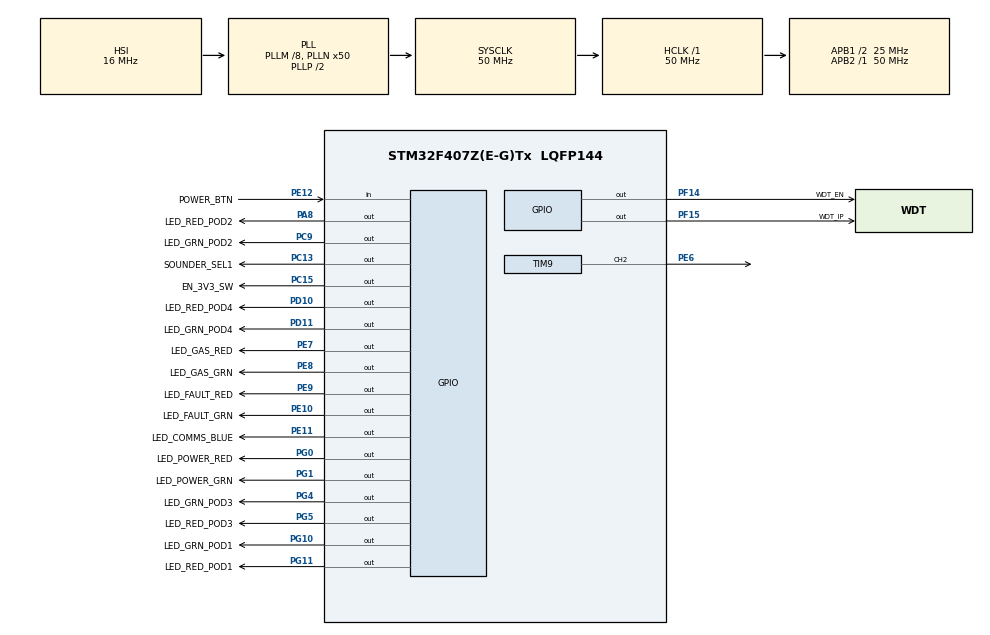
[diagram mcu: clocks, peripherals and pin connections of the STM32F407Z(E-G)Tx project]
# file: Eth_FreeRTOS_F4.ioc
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Mcu.Family=STM32F4
Mcu.Name=STM32F407Z(E-G)Tx
Mcu.Package=LQFP144
NVIC.PriorityGroup=NVIC_PRIORITYGROUP_4
NVIC.TIM3_IRQn=true\:15\:0\:false\:false\:true\:false\:true\:true
NVIC.TimeBase=TIM3_IRQn
NVIC.TimeBaseIP=TIM3
PA13.Mode=Trace_Asynchronous_SW
PA13.Signal=SYS_JTMS-SWDIO
PA14.Mode=Trace_Asynchronous_SW
PA14.Signal=SYS_JTCK-SWCLK
PA8.GPIO_Label=LED_RED_POD2
PA8.Signal=GPIO_Output
PB3.Mode=Trace_Asynchronous_SW
PB3.Signal=SYS_JTDO-SWO
PC13-ANTI_TAMP.GPIO_Label=SOUNDER_SEL1
PC13-ANTI_TAMP.GPIO_PuPd=GPIO_PULLUP
PC13-ANTI_TAMP.Signal=GPIO_Output
PC15-OSC32_OUT.GPIO_Label=EN_3V3_SW
PC15-OSC32_OUT.GPIO_PuPd=GPIO_PULLUP
PC15-OSC32_OUT.PinState=GPIO_PIN_SET
PC15-OSC32_OUT.Signal=GPIO_Output
PC9.GPIO_Label=LED_GRN_POD2
PC9.Signal=GPIO_Output
PD10.GPIO_Label=LED_RED_POD4
PD10.Signal=GPIO_Output
PD11.GPIO_Label=LED_GRN_POD4
PD11.Signal=GPIO_Output
PE10.GPIO_Label=LED_FAULT_GRN
PE10.Signal=GPIO_Output
PE11.GPIO_Label=LED_COMMS_BLUE
PE11.Signal=GPIO_Output
PE12.GPIO_Label=POWER_BTN
PE12.GPIO_PuPd=GPIO_PULLUP
PE12.Signal=GPIO_Input
PE6.Signal=S_TIM9_CH2
PE7.GPIO_Label=LED_GAS_RED
PE7.Signal=GPIO_Output
PE8.GPIO_Label=LED_GAS_GRN
PE8.Signal=GPIO_Output
PE9.GPIO_Label=LED_FAULT_RED
PE9.Signal=GPIO_Output
PF14.GPIO_Label=WDT_EN
PF14.GPIO_PuPd=GPIO_PULLUP
PF14.PinState=GPIO_PIN_SET
PF14.Signal=GPIO_Output
PF15.GPIO_Label=WDT_IP
PF15.Signal=GPIO_Output
PG0.GPIO_Label=LED_POWER_RED
PG0.Signal=GPIO_Output
PG1.GPIO_Label=LED_POWER_GRN
PG1.Signal=GPIO_Output
PG10.GPIO_Label=LED_GRN_POD1
PG10.Signal=GPIO_Output
PG11.GPIO_Label=LED_RED_POD1
PG11.Signal=GPIO_Output
PG4.GPIO_Label=LED_GRN_POD3
PG4.Signal=GPIO_Output
PG5.GPIO_Label=LED_RED_POD3
PG5.Signal=GPIO_Output
PH0-OSC_IN.Mode=HSE-External-Oscillator
PH0-OSC_IN.Signal=RCC_OSC_IN
PH1-OSC_OUT.Mode=HSE-External-Oscillator
PH1-OSC_OUT.Signal=RCC_OSC_OUT
ProjectManager.HeapSize=0x200
ProjectManager.StackSize=0x400
ProjectManager.TargetToolchain=EWARM V8.50
RCC.48MHZClocksFreq_Value=25000000
RCC.AHBFreq_Value=50000000
RCC.APB1CLKDivider=RCC_HCLK_DIV2
RCC.APB1Freq_Value=25000000
RCC.APB1TimFreq_Value=50000000
RCC.APB2Freq_Value=50000000
RCC.APB2TimFreq_Value=50000000
RCC.CortexFreq_Value=50000000
RCC.HCLKFreq_Value=50000000
RCC.HSE_VALUE=25000000
RCC.HSI_VALUE=16000000
RCC.LSE_VALUE=32768
RCC.PLLM=8
RCC.PLLN=50
RCC.SYSCLKFreq_VALUE=50000000
RCC.SYSCLKSource=RCC_SYSCLKSOURCE_PLLCLK
RCC.VCOOutputFreq_Value=100000000
SH.S_TIM9_CH2.0=TIM9_CH2,Output Compare2 CH2
TIM9.Channel-Output\ Compare2\ CH2=TIM_CHANNEL_2
TIM9.OCMode_2=TIM_OCMODE_TOGGLE
TIM9.Period=100
TIM9.Prescaler=120
TIM9.Pulse-Output\ Compare2\ CH2=50
VP_RNG_VS_RNG.Mode=RNG_Activate
VP_SYS_VS_tim3.Mode=TIM3
VP_TIM9_VS_ClockSourceINT.Mode=Internal
board=custom

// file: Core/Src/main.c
/* USER CODE BEGIN Header */
/**
  ******************************************************************************
  * @file           : main.c
  * @brief          : Main program body
  ******************************************************************************
  * @attention
  *
  * Copyright (c) 2024 STMicroelectronics.
  * All rights reserved.
  *
  * This software is licensed under terms that can be found in the LICENSE file
  * in the root directory of this software component.
  * If no LICENSE file comes with this software, it is provided AS-IS.
  *
  ******************************************************************************
  */
/* USER CODE END Header */
#include "main.h"

/* USER CODE BEGIN Includes */
#include "FreeRTOSConfig.h"
#include "FreeRTOSIPConfig.h"

#include "FreeRTOS.h"
#include "task.h"
#include "FreeRTOS_sockets.h"
#include "FreeRTOS_IP.h"

#include "tcp_sockets_wrapper.h"
#include "sockets_wrapper.h"
//#include "transport_plaintext.h"
#include "transport_mbedtls.h"
#include "core_http_config.h"
#include "core_http_client.h"

#include "Http_Open.h"
#include "hardware_rng.h"
/* USER CODE END Includes */

RNG_HandleTypeDef hrng;

TIM_HandleTypeDef htim9;

/* USER CODE BEGIN PV */
TaskHandle_t LedTask_t,SecondaryTask_t,RandomNumberTask_t;
HeapStats_t Heap_status_t ;
BaseType_t Stack_Size = 0;
/* USER CODE END PV */

void SystemClock_Config(void);
static void MX_GPIO_Init(void);
static void MX_TIM9_Init(void);
static void MX_RNG_Init(void);
/* USER CODE BEGIN PFP */

void Led_task(void* arg);
void SecTask(void* arg);

/* USER CODE END PFP */

/* USER CODE BEGIN 0 */
/* The MAC address array is not declared const as the MAC address will
normally be read from an EEPROM and not hard coded (in real deployed
applications).*/
static uint8_t ucMACAddress[ 6 ] = { 0x00, 0x11, 0x22, 0x33, 0x44, 0x55 };
uint8_t send_req = pdFALSE;
/* Define the network addressing.  These parameters will be used if either
ipconfigUDE_DHCP is 0 or if ipconfigUSE_DHCP is 1 but DHCP auto configuration
failed. */
static const uint8_t ucIPAddress[ 4 ] = { 10, 25, 10, 200 };
static const uint8_t ucNetMask[ 4 ] = { 255, 255, 255, 0 };
static const uint8_t ucGatewayAddress[ 4 ] = { 10, 25, 10, 1 };

/* The following is the address of an OpenDNS server. */
static const uint8_t ucDNSServerAddress[ 4 ] = { 8, 8, 8, 8 };
/* USER CODE END 0 */

int main(void)
{

  /* MCU Configuration--------------------------------------------------------*/

  /* Reset of all peripherals, Initializes the Flash interface and the Systick. */
  HAL_Init();

  /* Configure the system clock */
  SystemClock_Config();

  /* Initialize all configured peripherals */
  MX_GPIO_Init();
  MX_TIM9_Init();
  MX_RNG_Init();
  /* USER CODE BEGIN 2 */
  // Enable 3V3_SW supply
  HAL_GPIO_WritePin(EN_3V3_SW_GPIO_Port, EN_3V3_SW_Pin, GPIO_PIN_SET);

  // Disable WDT. Needs more work!
  HAL_GPIO_WritePin(WDT_EN_GPIO_Port, WDT_EN_Pin, GPIO_PIN_RESET);
//  HAL_GPIO_WritePin(WDT_IP_GPIO_Port, WDT_IP_Pin, GPIO_PIN_SET);

 // Set sounder to 0 volume level
 // HAL_GPIO_WritePin(SOUNDER_SEL1_GPIO_Port, SOUNDER_SEL1_Pin, GPIO_PIN_RESET);
 // HAL_GPIO_WritePin(SOUNDER_SEL2_GPIO_Port, SOUNDER_SEL2_Pin, GPIO_PIN_RESET);
  xTaskCreate(Led_task,"LED toggle",128,NULL,3,&LedTask_t);
  //xTaskCreate(RandomNumberGeneratorTask,"RandomNum",128,NULL,4,&RandomNumberTask_t);
  /* Initialise the TCP/IP stack. */
  FreeRTOS_IPInit( ucIPAddress,ucNetMask,ucGatewayAddress,ucDNSServerAddress,ucMACAddress );
 xTaskCreate(SecTask,"Second Task",256*4,NULL,3,&SecondaryTask_t);

vTaskStartScheduler();
  /* USER CODE END 2 */

  /* Infinite loop */
  while (1)
  {

  }
}

void SystemClock_Config(void)
{
  RCC_OscInitTypeDef RCC_OscInitStruct = {0};
  RCC_ClkInitTypeDef RCC_ClkInitStruct = {0};

  /** Configure the main internal regulator output voltage
  */
  __HAL_RCC_PWR_CLK_ENABLE();
  __HAL_PWR_VOLTAGESCALING_CONFIG(PWR_REGULATOR_VOLTAGE_SCALE1);

  /** Initializes the RCC Oscillators according to the specified parameters
  * in the RCC_OscInitTypeDef structure.
  */
  RCC_OscInitStruct.OscillatorType = RCC_OSCILLATORTYPE_HSI;
  RCC_OscInitStruct.HSIState = RCC_HSI_ON;
  RCC_OscInitStruct.HSICalibrationValue = RCC_HSICALIBRATION_DEFAULT;
  RCC_OscInitStruct.PLL.PLLState = RCC_PLL_ON;
  RCC_OscInitStruct.PLL.PLLSource = RCC_PLLSOURCE_HSI;
  RCC_OscInitStruct.PLL.PLLM = 8;
  RCC_OscInitStruct.PLL.PLLN = 50;
  RCC_OscInitStruct.PLL.PLLP = RCC_PLLP_DIV2;
  RCC_OscInitStruct.PLL.PLLQ = 4;
  if (HAL_RCC_OscConfig(&RCC_OscInitStruct) != HAL_OK)
  {
    Error_Handler();
  }

  /** Initializes the CPU, AHB and APB buses clocks
  */
  RCC_ClkInitStruct.ClockType = RCC_CLOCKTYPE_HCLK|RCC_CLOCKTYPE_SYSCLK
                              |RCC_CLOCKTYPE_PCLK1|RCC_CLOCKTYPE_PCLK2;
  RCC_ClkInitStruct.SYSCLKSource = RCC_SYSCLKSOURCE_PLLCLK;
  RCC_ClkInitStruct.AHBCLKDivider = RCC_SYSCLK_DIV1;
  RCC_ClkInitStruct.APB1CLKDivider = RCC_HCLK_DIV2;
  RCC_ClkInitStruct.APB2CLKDivider = RCC_HCLK_DIV1;

  if (HAL_RCC_ClockConfig(&RCC_ClkInitStruct, FLASH_LATENCY_1) != HAL_OK)
  {
    Error_Handler();
  }
}

static void MX_RNG_Init(void)
{

  hrng.Instance = RNG;
  if (HAL_RNG_Init(&hrng) != HAL_OK)
  {
    Error_Handler();
  }

}

static void MX_TIM9_Init(void)
{

  TIM_ClockConfigTypeDef sClockSourceConfig = {0};
  TIM_OC_InitTypeDef sConfigOC = {0};

  htim9.Instance = TIM9;
  htim9.Init.Prescaler = 120;
  htim9.Init.CounterMode = TIM_COUNTERMODE_UP;
  htim9.Init.Period = 100;
  htim9.Init.ClockDivision = TIM_CLOCKDIVISION_DIV1;
  htim9.Init.AutoReloadPreload = TIM_AUTORELOAD_PRELOAD_DISABLE;
  if (HAL_TIM_Base_Init(&htim9) != HAL_OK)
  {
    Error_Handler();
  }
  sClockSourceConfig.ClockSource = TIM_CLOCKSOURCE_INTERNAL;
  if (HAL_TIM_ConfigClockSource(&htim9, &sClockSourceConfig) != HAL_OK)
  {
    Error_Handler();
  }
  if (HAL_TIM_OC_Init(&htim9) != HAL_OK)
  {
    Error_Handler();
  }
  sConfigOC.OCMode = TIM_OCMODE_TOGGLE;
  sConfigOC.Pulse = 50;
  sConfigOC.OCPolarity = TIM_OCPOLARITY_HIGH;
  sConfigOC.OCFastMode = TIM_OCFAST_DISABLE;
  if (HAL_TIM_OC_ConfigChannel(&htim9, &sConfigOC, TIM_CHANNEL_2) != HAL_OK)
  {
    Error_Handler();
  }
  HAL_TIM_MspPostInit(&htim9);

}

static void MX_GPIO_Init(void)
{
  GPIO_InitTypeDef GPIO_InitStruct = {0};

  /* GPIO Ports Clock Enable */
  __HAL_RCC_GPIOE_CLK_ENABLE();
  __HAL_RCC_GPIOC_CLK_ENABLE();
  __HAL_RCC_GPIOH_CLK_ENABLE();
  __HAL_RCC_GPIOF_CLK_ENABLE();
  __HAL_RCC_GPIOG_CLK_ENABLE();
  __HAL_RCC_GPIOD_CLK_ENABLE();
  __HAL_RCC_GPIOA_CLK_ENABLE();
  __HAL_RCC_GPIOB_CLK_ENABLE();

  /*Configure GPIO pin Output Level */
  HAL_GPIO_WritePin(GPIOC, SOUNDER_SEL1_Pin|LED_GRN_POD2_Pin, GPIO_PIN_RESET);

  /*Configure GPIO pin Output Level */
  HAL_GPIO_WritePin(EN_3V3_SW_GPIO_Port, EN_3V3_SW_Pin, GPIO_PIN_SET);

  /*Configure GPIO pin Output Level */
  HAL_GPIO_WritePin(WDT_EN_GPIO_Port, WDT_EN_Pin, GPIO_PIN_SET);

  /*Configure GPIO pin Output Level */
  HAL_GPIO_WritePin(WDT_IP_GPIO_Port, WDT_IP_Pin, GPIO_PIN_RESET);

  /*Configure GPIO pin Output Level */
  HAL_GPIO_WritePin(GPIOG, LED_POWER_RED_Pin|LED_POWER_GRN_Pin|LED_GRN_POD3_Pin|LED_RED_POD3_Pin
                          |LED_GRN_POD1_Pin|LED_RED_POD1_Pin, GPIO_PIN_RESET);

  /*Configure GPIO pin Output Level */
  HAL_GPIO_WritePin(GPIOE, LED_GAS_RED_Pin|LED_GAS_GRN_Pin|LED_FAULT_RED_Pin|LED_FAULT_GRN_Pin
                          |LED_COMMS_BLUE_Pin, GPIO_PIN_RESET);

  /*Configure GPIO pin Output Level */
  HAL_GPIO_WritePin(GPIOD, LED_RED_POD4_Pin|LED_GRN_POD4_Pin, GPIO_PIN_RESET);

  /*Configure GPIO pin Output Level */
  HAL_GPIO_WritePin(LED_RED_POD2_GPIO_Port, LED_RED_POD2_Pin, GPIO_PIN_RESET);

  /*Configure GPIO pins : SOUNDER_SEL1_Pin EN_3V3_SW_Pin */
  GPIO_InitStruct.Pin = SOUNDER_SEL1_Pin|EN_3V3_SW_Pin;
  GPIO_InitStruct.Mode = GPIO_MODE_OUTPUT_PP;
  GPIO_InitStruct.Pull = GPIO_PULLUP;
  GPIO_InitStruct.Speed = GPIO_SPEED_FREQ_LOW;
  HAL_GPIO_Init(GPIOC, &GPIO_InitStruct);

  /*Configure GPIO pin : WDT_EN_Pin */
  GPIO_InitStruct.Pin = WDT_EN_Pin;
  GPIO_InitStruct.Mode = GPIO_MODE_OUTPUT_PP;
  GPIO_InitStruct.Pull = GPIO_PULLUP;
  GPIO_InitStruct.Speed = GPIO_SPEED_FREQ_LOW;
  HAL_GPIO_Init(WDT_EN_GPIO_Port, &GPIO_InitStruct);

  /*Configure GPIO pin : WDT_IP_Pin */
  GPIO_InitStruct.Pin = WDT_IP_Pin;
  GPIO_InitStruct.Mode = GPIO_MODE_OUTPUT_PP;
  GPIO_InitStruct.Pull = GPIO_NOPULL;
  GPIO_InitStruct.Speed = GPIO_SPEED_FREQ_LOW;
  HAL_GPIO_Init(WDT_IP_GPIO_Port, &GPIO_InitStruct);

  /*Configure GPIO pins : LED_POWER_RED_Pin LED_POWER_GRN_Pin LED_GRN_POD3_Pin LED_RED_POD3_Pin
                           LED_GRN_POD1_Pin LED_RED_POD1_Pin */
  GPIO_InitStruct.Pin = LED_POWER_RED_Pin|LED_POWER_GRN_Pin|LED_GRN_POD3_Pin|LED_RED_POD3_Pin
                          |LED_GRN_POD1_Pin|LED_RED_POD1_Pin;
  GPIO_InitStruct.Mode = GPIO_MODE_OUTPUT_PP;
  GPIO_InitStruct.Pull = GPIO_NOPULL;
  GPIO_InitStruct.Speed = GPIO_SPEED_FREQ_LOW;
  HAL_GPIO_Init(GPIOG, &GPIO_InitStruct);

  /*Configure GPIO pins : LED_GAS_RED_Pin LED_GAS_GRN_Pin LED_FAULT_RED_Pin LED_FAULT_GRN_Pin
                           LED_COMMS_BLUE_Pin */
  GPIO_InitStruct.Pin = LED_GAS_RED_Pin|LED_GAS_GRN_Pin|LED_FAULT_RED_Pin|LED_FAULT_GRN_Pin
                          |LED_COMMS_BLUE_Pin;
  GPIO_InitStruct.Mode = GPIO_MODE_OUTPUT_PP;
  GPIO_InitStruct.Pull = GPIO_NOPULL;
  GPIO_InitStruct.Speed = GPIO_SPEED_FREQ_LOW;
  HAL_GPIO_Init(GPIOE, &GPIO_InitStruct);

  /*Configure GPIO pin : POWER_BTN_Pin */
  GPIO_InitStruct.Pin = POWER_BTN_Pin;
  GPIO_InitStruct.Mode = GPIO_MODE_INPUT;
  GPIO_InitStruct.Pull = GPIO_PULLUP;
  HAL_GPIO_Init(POWER_BTN_GPIO_Port, &GPIO_InitStruct);

  /*Configure GPIO pins : LED_RED_POD4_Pin LED_GRN_POD4_Pin */
  GPIO_InitStruct.Pin = LED_RED_POD4_Pin|LED_GRN_POD4_Pin;
  GPIO_InitStruct.Mode = GPIO_MODE_OUTPUT_PP;
  GPIO_InitStruct.Pull = GPIO_NOPULL;
  GPIO_InitStruct.Speed = GPIO_SPEED_FREQ_LOW;
  HAL_GPIO_Init(GPIOD, &GPIO_InitStruct);

  /*Configure GPIO pin : LED_GRN_POD2_Pin */
  GPIO_InitStruct.Pin = LED_GRN_POD2_Pin;
  GPIO_InitStruct.Mode = GPIO_MODE_OUTPUT_PP;
  GPIO_InitStruct.Pull = GPIO_NOPULL;
  GPIO_InitStruct.Speed = GPIO_SPEED_FREQ_LOW;
  HAL_GPIO_Init(LED_GRN_POD2_GPIO_Port, &GPIO_InitStruct);

  /*Configure GPIO pin : LED_RED_POD2_Pin */
  GPIO_InitStruct.Pin = LED_RED_POD2_Pin;
  GPIO_InitStruct.Mode = GPIO_MODE_OUTPUT_PP;
  GPIO_InitStruct.Pull = GPIO_NOPULL;
  GPIO_InitStruct.Speed = GPIO_SPEED_FREQ_LOW;
  HAL_GPIO_Init(LED_RED_POD2_GPIO_Port, &GPIO_InitStruct);

}

/* USER CODE BEGIN 4 */
void vApplicationGetIdleTaskMemory( StaticTask_t ** ppxIdleTaskTCBBuffer,
									StackType_t ** ppxIdleTaskStackBuffer,
									uint32_t * pulIdleTaskStackSize )
{
/* If the buffers to be provided to the Idle task are declared inside this
 * function then they must be declared static - otherwise they will be allocated on
 * the stack and so not exists after this function exits. */
	static StaticTask_t xIdleTaskTCB;
	static StackType_t uxIdleTaskStack[ configMINIMAL_STACK_SIZE ];

	/* Pass out a pointer to the StaticTask_t structure in which the Idle task's
	 * state will be stored. */
	*ppxIdleTaskTCBBuffer = &xIdleTaskTCB;

	/* Pass out the array that will be used as the Idle task's stack. */
	*ppxIdleTaskStackBuffer = uxIdleTaskStack;

	/* Pass out the size of the array pointed to by *ppxIdleTaskStackBuffer.
	 * Note that, as the array is necessarily of type StackType_t,
	 * configMINIMAL_STACK_SIZE is specified in words, not bytes. */
	*pulIdleTaskStackSize = configMINIMAL_STACK_SIZE;
}
 void vApplicationIPNetworkEventHook( eIPCallbackEvent_t eNetworkEvent )
{
    uint32_t ulIPAddress, ulNetMask, ulGatewayAddress, ulDNSServerAddress;
    char cBuffer[ 16 ];
    static BaseType_t xTasksAlreadyCreated = pdFALSE;

    /* If the network has just come up...*/
    if( eNetworkEvent == eNetworkUp )
    {
        /* Create the tasks that use the IP stack if they have not already been
         * created. */
        if( xTasksAlreadyCreated == pdFALSE )
        {
            /* See the comments above the definitions of these pre-processor
             * macros at the top of this file for a description of the individual
             * demo tasks. */
            #if ( mainCREATE_SIMPLE_UDP_CLIENT_SERVER_TASKS == 1 )
            {
                vStartSimpleUDPClientServerTasks( configMINIMAL_STACK_SIZE, mainSIMPLE_UDP_CLIENT_SERVER_PORT, mainSIMPLE_UDP_CLIENT_SERVER_TASK_PRIORITY );
            }
            #endif /* mainCREATE_SIMPLE_UDP_CLIENT_SERVER_TASKS */

            #if ( mainCREATE_TCP_ECHO_TASKS_SINGLE == 1 )
            {
                vStartTCPEchoClientTasks_SingleTasks( mainECHO_CLIENT_TASK_STACK_SIZE, mainECHO_CLIENT_TASK_PRIORITY );
            }
            #endif /* mainCREATE_TCP_ECHO_TASKS_SINGLE */

            #if ( mainCREATE_TCP_ECHO_SERVER_TASK == 1 )
            {
                vStartSimpleTCPServerTasks( mainECHO_SERVER_TASK_STACK_SIZE, mainECHO_SERVER_TASK_PRIORITY );
            }
            #endif

            xTasksAlreadyCreated = pdTRUE;
        }

        /* Print out the network configuration, which may have come from a DHCP
         * server. */

        /* Using ipconfigIPv4_BACKWARD_COMPATIBLE as the substitute of the
         * downward compatibility*/

        #if defined( ipconfigIPv4_BACKWARD_COMPATIBLE ) && ( ipconfigIPv4_BACKWARD_COMPATIBLE == 0 )
            FreeRTOS_GetEndPointConfiguration( &ulIPAddress, &ulNetMask, &ulGatewayAddress, &ulDNSServerAddress, pxNetworkEndPoints );
        #else
            FreeRTOS_GetAddressConfiguration( &ulIPAddress, &ulNetMask, &ulGatewayAddress, &ulDNSServerAddress );
        #endif /* defined( ipconfigIPv4_BACKWARD_COMPATIBLE ) && ( ipconfigIPv4_BACKWARD_COMPATIBLE == 0 ) */
        FreeRTOS_inet_ntoa( ulIPAddress, cBuffer );
       // FreeRTOS_printf( ( "\r\n\r\nIP Address: %s\r\n", cBuffer ) );

        FreeRTOS_inet_ntoa( ulNetMask, cBuffer );
       // FreeRTOS_printf( ( "Subnet Mask: %s\r\n", cBuffer ) );

        FreeRTOS_inet_ntoa( ulGatewayAddress, cBuffer );
        //FreeRTOS_printf( ( "Gateway Address: %s\r\n", cBuffer ) );

        FreeRTOS_inet_ntoa( ulDNSServerAddress, cBuffer );
        send_req = pdTRUE;
       // FreeRTOS_printf( ( "DNS Server Address: %s\r\n\r\n\r\n", cBuffer ) );
    }
}

    uint32_t ulApplicationGetNextSequenceNumber(
        uint32_t ulSourceAddress,
        uint16_t usSourcePort,
        uint32_t ulDestinationAddress,
        uint16_t usDestinationPort )
    {
    	uint32_t ulReturn;
    	xApplicationGetRandomNumber( &( ulReturn ) );
    	return ulReturn;
    }

void Led_task(void* arg)
{

  while(1)
  {
    HAL_GPIO_TogglePin(GPIOE,LED_GAS_RED_Pin);
    vPortGetHeapStats(&Heap_status_t);
    Stack_Size = uxTaskGetStackHighWaterMark(SecondaryTask_t);
    vTaskDelay(2000);
  }
}

void SecTask(void* arg)
{
 while(1)
  {
    HAL_GPIO_TogglePin(GPIOE,LED_FAULT_RED_Pin);
    if(send_req == pdTRUE)
    {
       if( FreeRTOS_IsNetworkUp() == pdFALSE )
        {
           /* LogInfo( ( "Waiting for the network link up event..." ) );*/

            while( FreeRTOS_IsNetworkUp() == pdFALSE )
            {
                vTaskDelay( pdMS_TO_TICKS( 1000U ) );
            }
        }
    http_get();
    }
    vTaskDelay(15000);
  }
}

/* USER CODE END 4 */

void HAL_TIM_PeriodElapsedCallback(TIM_HandleTypeDef *htim)
{
  if (htim->Instance == TIM3) {
    HAL_IncTick();
  }
}

void Error_Handler(void)
{
  __disable_irq();
  while (1)
  {
  }
}
